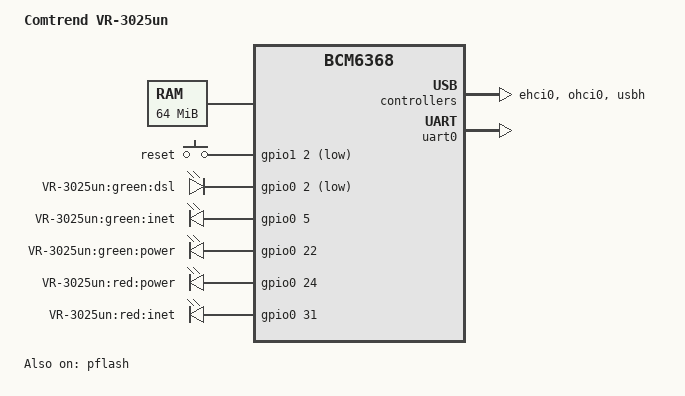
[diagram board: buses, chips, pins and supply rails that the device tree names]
/dts-v1/;

#include "bcm6368.dtsi"

/ {
	compatible = "comtrend,vr-3025un", "brcm,bcm6368";
	model = "Comtrend VR-3025un";

	memory@0 {
		device_type = "memory";
		reg = <0x00000000 0x04000000>;
	};

	chosen {
		bootargs = "earlycon";
		stdout-path = "uart0:115200";
	};

	gpio-keys-polled {
		compatible = "gpio-keys-polled";
		#address-cells = <1>;
		#size-cells = <0>;
		poll-interval = <20>;
		debounce-interval = <60>;

		reset {
			label = "reset";
			gpios = <&gpio1 2 GPIO_ACTIVE_LOW>;
			linux,code = <KEY_RESTART>;
		};
	};

	gpio-leds {
		compatible = "gpio-leds";

		dsl_green {
			label = "VR-3025un:green:dsl";
			gpios = <&gpio0 2 GPIO_ACTIVE_LOW>;
		};
		inet_green {
			label = "VR-3025un:green:inet";
			gpios = <&gpio0 5 GPIO_ACTIVE_HIGH>;
		};
		power_green {
			label = "VR-3025un:green:power";
			gpios = <&gpio0 22 GPIO_ACTIVE_HIGH>;
			default-state = "on";
		};
		power_red {
			label = "VR-3025un:red:power";
			gpios = <&gpio0 24 GPIO_ACTIVE_HIGH>;
		};
		inet_red {
			label = "VR-3025un:red:inet";
			gpios = <&gpio0 31 GPIO_ACTIVE_HIGH>;
		};
	};
};

&ehci0 {
	status = "ok";
};

&ohci0 {
	status = "ok";
};

&pflash {
	status = "ok";

	partitions {
		cfe@0 {
			label = "cfe";
			reg = <0x000000 0x010000>;
			read-only;
		};
		linux@10000 {
			label = "linux";
			reg = <0x010000 0x7e0000>;
		};
		nvram@7f0000 {
			label = "nvram";
			reg = <0x7f0000 0x010000>;
		};
	};
};

&uart0 {
	status = "ok";
};

&usbh {
	status = "ok";
};
